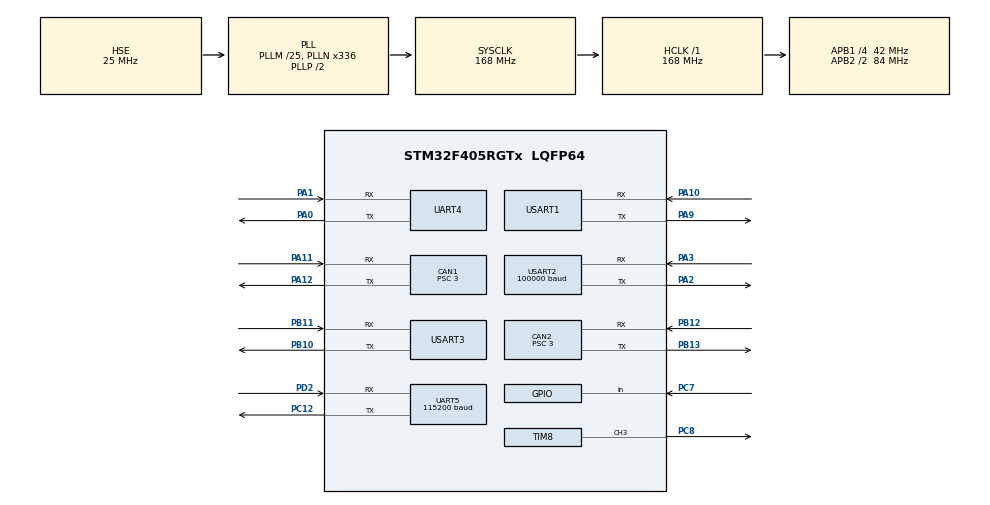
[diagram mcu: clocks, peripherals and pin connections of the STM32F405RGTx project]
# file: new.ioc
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CAN1.ABOM=ENABLE
CAN1.AWUM=ENABLE
CAN1.BS1=CAN_BS1_9TQ
CAN1.BS2=CAN_BS2_4TQ
CAN1.CalculateBaudRate=1000000
CAN1.CalculateTimeBit=1000
CAN1.CalculateTimeQuantum=71.42857142857143
CAN1.NART=DISABLE
CAN1.Prescaler=3
CAN1.TXFP=ENABLE
CAN2.ABOM=ENABLE
CAN2.AWUM=ENABLE
CAN2.BS1=CAN_BS1_9TQ
CAN2.BS2=CAN_BS2_4TQ
CAN2.CalculateBaudRate=1000000
CAN2.CalculateTimeBit=1000
CAN2.CalculateTimeQuantum=71.42857142857143
CAN2.NART=ENABLE
CAN2.Prescaler=3
CAN2.TXFP=ENABLE
Dma.Request0=USART2_RX
Dma.Request1=UART4_RX
Dma.Request2=UART5_RX
Dma.Request3=USART1_RX
Dma.UART4_RX.1.Direction=DMA_PERIPH_TO_MEMORY
Dma.UART4_RX.1.FIFOMode=DMA_FIFOMODE_DISABLE
Dma.UART4_RX.1.Instance=DMA1_Stream2
Dma.UART4_RX.1.MemDataAlignment=DMA_MDATAALIGN_BYTE
Dma.UART4_RX.1.MemInc=DMA_MINC_ENABLE
Dma.UART4_RX.1.Mode=DMA_CIRCULAR
Dma.UART4_RX.1.PeriphDataAlignment=DMA_PDATAALIGN_BYTE
Dma.UART4_RX.1.PeriphInc=DMA_PINC_DISABLE
Dma.UART4_RX.1.Priority=DMA_PRIORITY_VERY_HIGH
Dma.UART5_RX.2.Direction=DMA_PERIPH_TO_MEMORY
Dma.UART5_RX.2.FIFOMode=DMA_FIFOMODE_DISABLE
Dma.UART5_RX.2.Instance=DMA1_Stream0
Dma.UART5_RX.2.MemDataAlignment=DMA_MDATAALIGN_BYTE
Dma.UART5_RX.2.MemInc=DMA_MINC_ENABLE
Dma.UART5_RX.2.Mode=DMA_CIRCULAR
Dma.UART5_RX.2.PeriphDataAlignment=DMA_PDATAALIGN_BYTE
Dma.UART5_RX.2.PeriphInc=DMA_PINC_DISABLE
Dma.UART5_RX.2.Priority=DMA_PRIORITY_VERY_HIGH
Dma.USART1_RX.3.Direction=DMA_PERIPH_TO_MEMORY
Dma.USART1_RX.3.FIFOMode=DMA_FIFOMODE_DISABLE
Dma.USART1_RX.3.Instance=DMA2_Stream2
Dma.USART1_RX.3.MemDataAlignment=DMA_MDATAALIGN_BYTE
Dma.USART1_RX.3.MemInc=DMA_MINC_ENABLE
Dma.USART1_RX.3.Mode=DMA_CIRCULAR
Dma.USART1_RX.3.PeriphDataAlignment=DMA_PDATAALIGN_BYTE
Dma.USART1_RX.3.PeriphInc=DMA_PINC_DISABLE
Dma.USART1_RX.3.Priority=DMA_PRIORITY_VERY_HIGH
Dma.USART2_RX.0.Direction=DMA_PERIPH_TO_MEMORY
Dma.USART2_RX.0.FIFOMode=DMA_FIFOMODE_DISABLE
Dma.USART2_RX.0.Instance=DMA1_Stream5
Dma.USART2_RX.0.MemDataAlignment=DMA_MDATAALIGN_BYTE
Dma.USART2_RX.0.MemInc=DMA_MINC_ENABLE
Dma.USART2_RX.0.Mode=DMA_NORMAL
Dma.USART2_RX.0.PeriphDataAlignment=DMA_PDATAALIGN_BYTE
Dma.USART2_RX.0.PeriphInc=DMA_PINC_DISABLE
Dma.USART2_RX.0.Priority=DMA_PRIORITY_VERY_HIGH
FREERTOS.INCLUDE_vTaskDelayUntil=1
FREERTOS.Tasks01=chassis__task,0,512,chassis_task,Default,NULL,Dynamic,NULL,NULL;Gimbal__Task,-1,512,Gimbal_Task,Default,NULL,Dynamic,NULL,NULL;can__Task,1,512,can_Task,Default,NULL,Dynamic,NULL,NULL;vofa__Task,-2,128,vofa_Task,Default,NULL,Dynamic,NULL,NULL;client_,-1,128,client,Default,NULL,Dynamic,NULL,NULL;super_cap,-1,128,super_cap_task,Default,NULL,Dynamic,NULL,NULL
Mcu.Family=STM32F4
Mcu.Name=STM32F405RGTx
Mcu.Package=LQFP64
NVIC.CAN1_RX0_IRQn=true\:7\:0\:true\:false\:true\:true\:true\:true\:true
NVIC.CAN2_RX0_IRQn=true\:6\:0\:true\:false\:true\:true\:true\:true\:true
NVIC.DMA1_Stream0_IRQn=true\:5\:0\:false\:false\:true\:true\:false\:true\:true
NVIC.DMA1_Stream2_IRQn=true\:5\:0\:false\:false\:true\:true\:false\:true\:true
NVIC.DMA1_Stream5_IRQn=true\:5\:0\:true\:false\:true\:true\:false\:true\:true
NVIC.DMA2_Stream2_IRQn=true\:5\:0\:false\:false\:true\:true\:false\:true\:true
NVIC.PriorityGroup=NVIC_PRIORITYGROUP_4
NVIC.TIM8_TRG_COM_TIM14_IRQn=true\:15\:0\:true\:false\:true\:false\:false\:true\:true
NVIC.TimeBase=TIM8_TRG_COM_TIM14_IRQn
NVIC.TimeBaseIP=TIM14
NVIC.UART4_IRQn=true\:8\:0\:true\:false\:true\:true\:true\:true\:true
NVIC.UART5_IRQn=true\:5\:0\:true\:false\:true\:true\:true\:true\:true
NVIC.USART1_IRQn=true\:7\:0\:true\:false\:true\:true\:true\:true\:true
NVIC.USART2_IRQn=true\:7\:0\:true\:false\:true\:true\:true\:true\:true
PA0-WKUP.Mode=Asynchronous
PA0-WKUP.Signal=UART4_TX
PA1.Mode=Asynchronous
PA1.Signal=UART4_RX
PA10.Mode=Asynchronous
PA10.Signal=USART1_RX
PA11.GPIO_PuPd=GPIO_NOPULL
PA11.Mode=CAN_Activate
PA11.Signal=CAN1_RX
PA12.Mode=CAN_Activate
PA12.Signal=CAN1_TX
PA13.Mode=Serial_Wire
PA13.Signal=SYS_JTMS-SWDIO
PA14.Mode=Serial_Wire
PA14.Signal=SYS_JTCK-SWCLK
PA2.GPIO_PuPd=GPIO_PULLUP
PA2.Mode=Asynchronous
PA2.Signal=USART2_TX
PA3.GPIO_PuPd=GPIO_PULLUP
PA3.Mode=Asynchronous
PA3.Signal=USART2_RX
PA9.Mode=Asynchronous
PA9.Signal=USART1_TX
PB10.Mode=Asynchronous
PB10.Signal=USART3_TX
PB11.Mode=Asynchronous
PB11.Signal=USART3_RX
PB12.Mode=CAN_Activate
PB12.Signal=CAN2_RX
PB13.Mode=CAN_Activate
PB13.Signal=CAN2_TX
PC12.Mode=Asynchronous
PC12.Signal=UART5_TX
PC7.Signal=GPIO_Input
PC8.Signal=S_TIM8_CH3
PD2.Mode=Asynchronous
PD2.Signal=UART5_RX
PH0-OSC_IN.Mode=HSE-External-Oscillator
PH0-OSC_IN.Signal=RCC_OSC_IN
PH1-OSC_OUT.Mode=HSE-External-Oscillator
PH1-OSC_OUT.Signal=RCC_OSC_OUT
ProjectManager.HeapSize=0x800
ProjectManager.StackSize=0x800
ProjectManager.TargetToolchain=MDK-ARM V5
RCC.48MHZClocksFreq_Value=84000000
RCC.AHBFreq_Value=168000000
RCC.APB1CLKDivider=RCC_HCLK_DIV4
RCC.APB1Freq_Value=42000000
RCC.APB1TimFreq_Value=84000000
RCC.APB2CLKDivider=RCC_HCLK_DIV2
RCC.APB2Freq_Value=84000000
RCC.APB2TimFreq_Value=168000000
RCC.CortexFreq_Value=168000000
RCC.HCLKFreq_Value=168000000
RCC.HSE_VALUE=25000000
RCC.HSI_VALUE=16000000
RCC.LSE_VALUE=32768
RCC.PLLM=25
RCC.PLLN=336
RCC.PLLSourceVirtual=RCC_PLLSOURCE_HSE
RCC.SYSCLKFreq_VALUE=168000000
RCC.SYSCLKSource=RCC_SYSCLKSOURCE_PLLCLK
RCC.VCOOutputFreq_Value=336000000
SH.S_TIM8_CH3.0=TIM8_CH3,PWM Generation3 CH3
TIM8.AutoReloadPreload=TIM_AUTORELOAD_PRELOAD_ENABLE
TIM8.Channel-PWM\ Generation3\ CH3=TIM_CHANNEL_3
TIM8.OCPolarity_3=TIM_OCPOLARITY_HIGH
TIM8.Period=20000-1
TIM8.Prescaler=168-1
TIM8.Pulse-PWM\ Generation3\ CH3=2340
TIM8.RepetitionCounter=250
UART4.VirtualMode=Asynchronous
UART5.BaudRate=115200
UART5.VirtualMode=Asynchronous
USART1.VirtualMode=VM_ASYNC
USART2.BaudRate=100000
USART2.Parity=PARITY_EVEN
USART2.VirtualMode=VM_ASYNC
USART2.WordLength=WORDLENGTH_9B
USART3.VirtualMode=VM_ASYNC
VP_FREERTOS_VS_CMSIS_V1.Mode=CMSIS_V1
VP_SYS_VS_tim14.Mode=TIM14
board=custom

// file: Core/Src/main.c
/* USER CODE BEGIN Header */
/**
  ******************************************************************************
  * @file           : main.c
  * @brief          : Main program body
  ******************************************************************************
  * @attention
  *
  * Copyright (c) 2022 STMicroelectronics.
  * All rights reserved.
  *
  * This software is licensed under terms that can be found in the LICENSE file
  * in the root directory of this software component.
  * If no LICENSE file comes with this software, it is provided AS-IS.
  *
  ******************************************************************************
  */
/* USER CODE END Header */
#include "main.h"
#include "cmsis_os.h"
#include "can.h"
#include "dma.h"
#include "tim.h"
#include "usart.h"
#include "gpio.h"

/* USER CODE BEGIN Includes */
#include "rc.h"
#include "pid.h"
#include "imu_data_decode.h"
#include "Report.h"
#include "vision.h"
extern void PID_init(void);
/* USER CODE END Includes */

/* USER CODE BEGIN PV */
extern uint8_t hi229_data;
extern uint8_t MPU_data;
extern uint8_t UART1_Rx_Buf[14];
/* USER CODE END PV */

void SystemClock_Config(void);
void MX_FREERTOS_Init(void);

/* USER CODE BEGIN 0 */

extern unsigned char sbus_rx_buffer[2][RC_FRAME_LENGTH]; //double sbus rx buffer to save data
extern uint8_t UART4_Rx_temp[2][REFFER_REC_LENGTH];
extern uint8_t UART4_Flag;
/* USER CODE END 0 */

int main(void)
{

  /* MCU Configuration--------------------------------------------------------*/

  /* Reset of all peripherals, Initializes the Flash interface and the Systick. */
  HAL_Init();

  /* Configure the system clock */
  SystemClock_Config();

  /* Initialize all configured peripherals */
  MX_GPIO_Init();
  MX_DMA_Init();
  MX_CAN1_Init();
  MX_CAN2_Init();
  MX_USART2_UART_Init();
  MX_UART5_Init();
  MX_TIM8_Init();
  MX_USART3_UART_Init();
  MX_UART4_Init();
  MX_USART1_UART_Init();
  /* USER CODE BEGIN 2 */
	CAN1_Filterinit_And_Start();
	CAN2_Filterinit_And_Start();
	PID_init();
  Usart_Init_Report();
  imu_data_decode_init();
	//CAN1_0x333_TX(48);
//
//
//  HAL_TIM_PWM_Start(&htim8,TIM_CHANNEL_3);
//

/*
  __HAL_UART_ENABLE_IT(&huart1, UART_IT_IDLE);
	HAL_UART_Receive_DMA(&huart1,UART1_Rx_Buf,6);
*/

	HAL_UART_Receive_DMA(&huart5,&MPU_data,1);
  //__HAL_TIM_SET_COMPARE(&htim8,TIM_CHANNEL_3,100);

	HAL_UART_Receive_DMA(&huart2,&sbus_rx_buffer[0][0],RC_FRAME_LENGTH);
  HAL_UART_Receive_DMA(&huart4, (uint8_t*)UART4_Rx_temp[UART4_Flag], REFFER_REC_LENGTH);
  /* USER CODE END 2 */

  /* Call init function for freertos objects (in freertos.c) */
  MX_FREERTOS_Init();

  /* Start scheduler */
  osKernelStart();

  /* We should never get here as control is now taken by the scheduler */
  /* Infinite loop */
  while (1)
  {

  }
}

void SystemClock_Config(void)
{
  RCC_OscInitTypeDef RCC_OscInitStruct = {0};
  RCC_ClkInitTypeDef RCC_ClkInitStruct = {0};

  /** Configure the main internal regulator output voltage
  */
  __HAL_RCC_PWR_CLK_ENABLE();
  __HAL_PWR_VOLTAGESCALING_CONFIG(PWR_REGULATOR_VOLTAGE_SCALE1);

  /** Initializes the RCC Oscillators according to the specified parameters
  * in the RCC_OscInitTypeDef structure.
  */
  RCC_OscInitStruct.OscillatorType = RCC_OSCILLATORTYPE_HSE;
  RCC_OscInitStruct.HSEState = RCC_HSE_ON;
  RCC_OscInitStruct.PLL.PLLState = RCC_PLL_ON;
  RCC_OscInitStruct.PLL.PLLSource = RCC_PLLSOURCE_HSE;
  RCC_OscInitStruct.PLL.PLLM = 25;
  RCC_OscInitStruct.PLL.PLLN = 336;
  RCC_OscInitStruct.PLL.PLLP = RCC_PLLP_DIV2;
  RCC_OscInitStruct.PLL.PLLQ = 4;
  if (HAL_RCC_OscConfig(&RCC_OscInitStruct) != HAL_OK)
  {
    Error_Handler();
  }

  /** Initializes the CPU, AHB and APB buses clocks
  */
  RCC_ClkInitStruct.ClockType = RCC_CLOCKTYPE_HCLK|RCC_CLOCKTYPE_SYSCLK
                              |RCC_CLOCKTYPE_PCLK1|RCC_CLOCKTYPE_PCLK2;
  RCC_ClkInitStruct.SYSCLKSource = RCC_SYSCLKSOURCE_PLLCLK;
  RCC_ClkInitStruct.AHBCLKDivider = RCC_SYSCLK_DIV1;
  RCC_ClkInitStruct.APB1CLKDivider = RCC_HCLK_DIV4;
  RCC_ClkInitStruct.APB2CLKDivider = RCC_HCLK_DIV2;

  if (HAL_RCC_ClockConfig(&RCC_ClkInitStruct, FLASH_LATENCY_5) != HAL_OK)
  {
    Error_Handler();
  }
}

void HAL_TIM_PeriodElapsedCallback(TIM_HandleTypeDef *htim)
{
  if (htim->Instance == TIM14) {
    HAL_IncTick();
  }
}

void Error_Handler(void)
{
  __disable_irq();
  while (1)
  {
  }
}

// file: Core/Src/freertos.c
/* USER CODE BEGIN Header */
/**
  ******************************************************************************
  * File Name          : freertos.c
  * Description        : Code for freertos applications
  ******************************************************************************
  * @attention
  *
  * Copyright (c) 2022 STMicroelectronics.
  * All rights reserved.
  *
  * This software is licensed under terms that can be found in the LICENSE file
  * in the root directory of this software component.
  * If no LICENSE file comes with this software, it is provided AS-IS.
  *
  ******************************************************************************
  */
/* USER CODE END Header */

#include "FreeRTOS.h"
#include "task.h"
#include "main.h"
#include "cmsis_os.h"

/* USER CODE BEGIN Includes */
#include "rc.h"
#include "task.h"
#include "pid.h"
#include "can.h"
#include "vision.h"
#include "Report.h"
#include "referee_task.h"
#include "detect_task.h"
#include "chassis_mode.h"

extern void Chassis_PID(void);
extern void Gimbal_PID(void);
extern void dial_PID(void);
extern void Friction_PID(void);
extern int infra_red_GPIO;
extern int infra_red_MODE;
extern judge_info_t judge_infop;
/* USER CODE END Includes */

osThreadId chassis__taskHandle;
osThreadId Gimbal__TaskHandle;
osThreadId can__TaskHandle;
osThreadId vofa__TaskHandle;
osThreadId client_Handle;
osThreadId super_capHandle;

void chassis_task(void const * argument);
void Gimbal_Task(void const * argument);
void can_Task(void const * argument);
void vofa_Task(void const * argument);
void client(void const * argument);
void super_cap_task(void const * argument);

void MX_FREERTOS_Init(void); /* (MISRA C 2004 rule 8.1) */

/* GetIdleTaskMemory prototype (linked to static allocation support) */
void vApplicationGetIdleTaskMemory( StaticTask_t **ppxIdleTaskTCBBuffer, StackType_t **ppxIdleTaskStackBuffer, uint32_t *pulIdleTaskStackSize );

/* USER CODE BEGIN GET_IDLE_TASK_MEMORY */
static StaticTask_t xIdleTaskTCBBuffer;
static StackType_t xIdleStack[configMINIMAL_STACK_SIZE];

void vApplicationGetIdleTaskMemory( StaticTask_t **ppxIdleTaskTCBBuffer, StackType_t **ppxIdleTaskStackBuffer, uint32_t *pulIdleTaskStackSize )
{
  *ppxIdleTaskTCBBuffer = &xIdleTaskTCBBuffer;
  *ppxIdleTaskStackBuffer = &xIdleStack[0];
  *pulIdleTaskStackSize = configMINIMAL_STACK_SIZE;
  /* place for user code */
}
/* USER CODE END GET_IDLE_TASK_MEMORY */

void MX_FREERTOS_Init(void) {

  /* Create the thread(s) */
  /* definition and creation of chassis__task */
  osThreadDef(chassis__task, chassis_task, osPriorityNormal, 0, 512);
  chassis__taskHandle = osThreadCreate(osThread(chassis__task), NULL);

  /* definition and creation of Gimbal__Task */
  osThreadDef(Gimbal__Task, Gimbal_Task, osPriorityBelowNormal, 0, 512);
  Gimbal__TaskHandle = osThreadCreate(osThread(Gimbal__Task), NULL);

  /* definition and creation of can__Task */
  osThreadDef(can__Task, can_Task, osPriorityAboveNormal, 0, 512);
  can__TaskHandle = osThreadCreate(osThread(can__Task), NULL);

  /* definition and creation of vofa__Task */
  osThreadDef(vofa__Task, vofa_Task, osPriorityLow, 0, 128);
  vofa__TaskHandle = osThreadCreate(osThread(vofa__Task), NULL);

  /* definition and creation of client_ */
  osThreadDef(client_, client, osPriorityBelowNormal, 0, 128);
  client_Handle = osThreadCreate(osThread(client_), NULL);

  /* definition and creation of super_cap */
  osThreadDef(super_cap, super_cap_task, osPriorityBelowNormal, 0, 128);
  super_capHandle = osThreadCreate(osThread(super_cap), NULL);

}

void chassis_task(void const * argument)
{
  /* USER CODE BEGIN chassis_task */
	static portTickType PreviousWakeTime1;
	const portTickType TimeIncrement=pdMS_TO_TICKS(2);
	PreviousWakeTime1=xTaskGetTickCount();

  /* Infinite loop */
  for(;;)
  {
		RC_can();
		ReadRc_Chassis();
    Function_Choose();
		Chassis_PID();
   	vTaskDelayUntil(&PreviousWakeTime1,TimeIncrement);
  }
  /* USER CODE END chassis_task */
}

int cnt26=0;
extern float ecd_diff;
void Gimbal_Task(void const * argument)
{
  /* USER CODE BEGIN Gimbal_Task */
	static portTickType PreviousWakeTime1;
	const portTickType TimeIncrement=pdMS_TO_TICKS(2);
	PreviousWakeTime1=xTaskGetTickCount();
  /* Infinite loop */
  for(;;)
  {
		cnt26++;
		report_SendData(wheel_moter[0].ActualSpeed,wheel_moter[1].ActualSpeed,wheel_moter[2].target_speed,wheel_moter[2].ActualSpeed,wheel_moter[3].ActualSpeed);

    Offline_task();

	  vTaskDelayUntil(&PreviousWakeTime1,TimeIncrement);
  }
  /* USER CODE END Gimbal_Task */
}

/* USER CODE BEGIN Header_can_Task */
/**
* @brief Function implementing the can__Task thread.
* @param argument: Not used
* @retval None
*/
int hero_shoot_number=0;
int cnt315=0;
/* USER CODE END Header_can_Task */
void can_Task(void const * argument)
{
  /* USER CODE BEGIN can_Task */
	static portTickType PreviousWakeTime1;
	const portTickType TimeIncrement=pdMS_TO_TICKS(5);
	PreviousWakeTime1=xTaskGetTickCount();
  /* Infinite loop */
  for(;;)
  {
		Offline_task();
cnt315++;
		hero_shoot_number=hero_refree_shoot_number();
	  CAN1_send();
	  //CAN2_send();
		vTaskDelayUntil(&PreviousWakeTime1,TimeIncrement);
  }
  /* USER CODE END can_Task */
}

void vofa_Task(void const * argument)
{
  /* USER CODE BEGIN vofa_Task */
  static portTickType PreviousWakeTime1;
	const portTickType TimeIncrement=pdMS_TO_TICKS(5);
	PreviousWakeTime1=xTaskGetTickCount();
  /* Infinite loop */
  for(;;)
  {
    //vision_Send();
	  vTaskDelayUntil(&PreviousWakeTime1,TimeIncrement);
  }
  /* USER CODE END vofa_Task */
}

void client(void const * argument)
{
  /* USER CODE BEGIN client */
	uint32_t previousWakeTime=osKernelSysTick();
  /* Infinite loop */
  for(;;)
  {
    UI_Ctrl();
	  osDelayUntil(&previousWakeTime,10);
  }
  /* USER CODE END client */
}

/* USER CODE BEGIN Header_super_cap_task */
/**
* @brief Function implementing the super_cap thread.
* @param argument: Not used
* @retval None
*/
extern int ciecle_speed;
extern int chassis_referee_mode;
int cnt225=0;
extern int Chassis_speed_proportion;
extern int shoot_referee_mode;
extern KEY	KEY_Date;
/* USER CODE END Header_super_cap_task */
void super_cap_task(void const * argument)
{
  /* USER CODE BEGIN super_cap_task */
	uint32_t previousWakeTime=osKernelSysTick();
  /* Infinite loop */
  for(;;)
  {
		cnt225++;
		//CAN1_0x333_TX(55);
		chassis_mode_judge();
		super_cap_buffer();
		switch(chassis_referee_mode)
		{
			case Power_priority:
			{
					if(judge_infop.GameRobotStatus.robot_level==1)
					{
						ciecle_speed=2500;
						Chassis_speed_proportion=2500;
					}
					else if(judge_infop.GameRobotStatus.robot_level==2)
					{
						ciecle_speed=3200;
						Chassis_speed_proportion=3000;
					}
					else if(judge_infop.GameRobotStatus.robot_level==3)
					{
						ciecle_speed=4200;
						Chassis_speed_proportion=3000;
					}
			}
			break;

			case Health_priority:
			{
					if(judge_infop.GameRobotStatus.robot_level==1)
					{
						ciecle_speed=2000;
						Chassis_speed_proportion=2000;
					}
					else if(judge_infop.GameRobotStatus.robot_level==2)
					{
						ciecle_speed=3200;
						Chassis_speed_proportion=2500;
					}
					else if(judge_infop.GameRobotStatus.robot_level==3)
					{
						ciecle_speed=4200;
						Chassis_speed_proportion=2500;
					}
			}
			break;
			default: {break;}
		}
	  osDelayUntil(&previousWakeTime,100);
  }
  /* USER CODE END super_cap_task */
}
